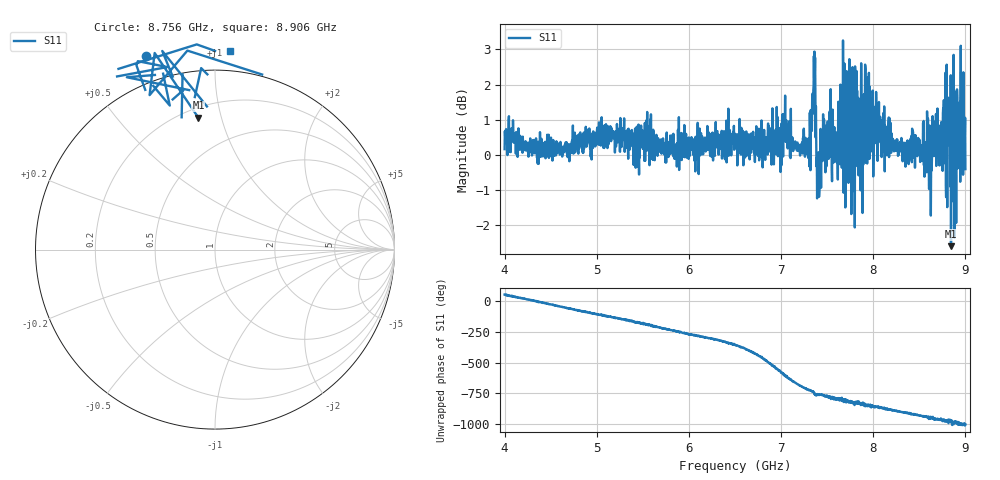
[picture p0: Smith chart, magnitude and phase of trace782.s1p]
! Created with skrf 1.8.0 (http://scikit-rf.org).
# Hz S RI R 50.0
!freq ReS11 ImS11
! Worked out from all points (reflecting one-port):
!   1601 points, 4 GHz to 9 GHz, reference 50 ohm
!   lowest |S11| = -2.6 dB at 8.844 GHz (marker M1), VSWR 6.69, Z = 13.1 + j42.4 ohm
!   phase of S11 starts at 51 deg and turns -1051 deg over the sweep
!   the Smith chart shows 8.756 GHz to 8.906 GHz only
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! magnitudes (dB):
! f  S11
! 4 GHz  0.2
! 4.625 GHz  -0.1
! 5.25 GHz  0.1
! 5.875 GHz  0.3
! 6.5 GHz  0.3
! 6.825 GHz  0.0
! 6.984 GHz  0.1
! 7.038 GHz  0.9
! 7.125 GHz  0.4
! 7.294 GHz  -0.1
! 7.347 GHz  1.2
! 7.362 GHz  2.9
! 7.409 GHz  -0.5
! 7.522 GHz  1.0
! 7.591 GHz  0.2
! 7.669 GHz  0.5
! 7.75 GHz  0.7
! 7.788 GHz  0.9
! 7.8 GHz  -2.1
! 7.844 GHz  0.7
! 7.866 GHz  0.9
! 7.928 GHz  1.5
! 8.375 GHz  0.0
! 8.622 GHz  0.5
! 8.809 GHz  1.5
! 8.844 GHz  -2.6
! 8.959 GHz  2.3
! 9 GHz  -0.4
